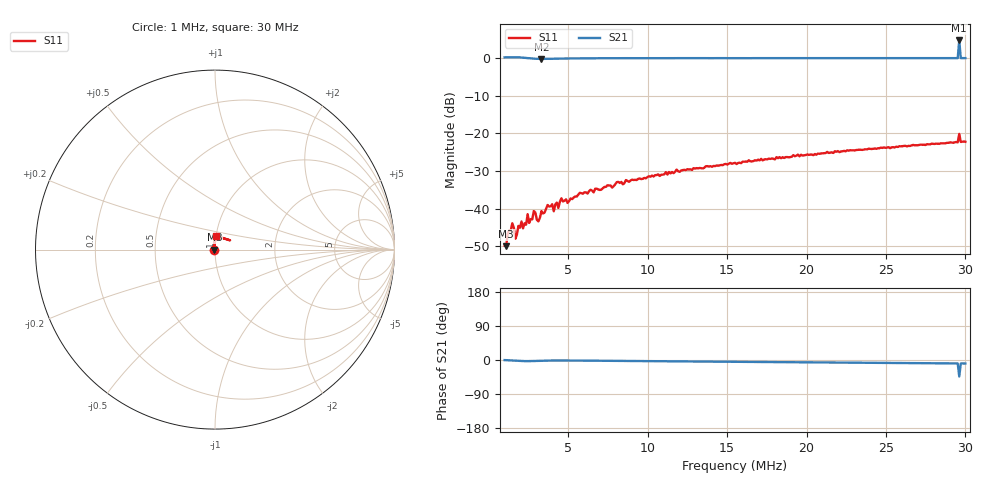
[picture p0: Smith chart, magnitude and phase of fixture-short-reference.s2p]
!File created by NanoVNA-F V2
# Hz S RI R 50
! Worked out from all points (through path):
!   301 points, 1 MHz to 30 MHz, reference 50 ohm
!   highest |S21| = 4.68 dB at 29.61 MHz (marker M1); lowest = -0.2 dB at 3.32 MHz (marker M2)
!   lowest |S11| = -49.9 dB at 1.097 MHz (marker M3), VSWR 1.01, Z = 49.7 - j0.0704 ohm
!   |S11| at or under -10 dB: start of sweep to end of sweep
!   S12 and S22 are empty: the file has one direction only
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1000000  -0.00317 -0.000628  1.022 -0.00425  0 0  0 0
1096666  -0.00311 -0.000708  1.024 -0.00831  0 0  0 0
1193332  -0.00471 0.000108  1.024 -0.0112  0 0  0 0
1483330  -0.00609 0.00204  1.025 -0.0209  0 0  0 0
1676662  -0.0039 0.000884  1.025 -0.0301  0 0  0 0
2063326  -0.00502 0.00454  1.016 -0.0456  0 0  0 0
2159992  -0.00436 0.00333  1.013 -0.0475  0 0  0 0
2353324  -0.00521 0.00326  1.003 -0.0521  0 0  0 0
2449990  -0.00539 0.00654  0.9975 -0.0505  0 0  0 0
2546656  -0.00425 0.0049  0.991 -0.0518  0 0  0 0
2836654  -0.00583 0.00731  0.9805 -0.0436  0 0  0 0
3126652  -0.00316 0.00603  0.9762 -0.0348  0 0  0 0
3319984  -0.00512 0.00779  0.9755 -0.0317  0 0  0 0
5833300  -0.00463 0.0154  0.9925 -0.0277  0 0  0 0
1.06666e7  -0.00246 0.0285  0.996 -0.0555  0 0  0 0
1.54999e7  -0.00182 0.0407  0.995 -0.0826  0 0  0 0
2.03332e7  0.00137 0.0525  0.9922 -0.1084  0 0  0 0
2.51665e7  0.00365 0.0657  0.9892 -0.1354  0 0  0 0
2.951647e7  0.00462 0.0759  0.9865 -0.1575  0 0  0 0
2.961314e7  0.084 0.0516  1.243 -1.181  0 0  0 0
2.97098e7  0.00587 0.0768  0.9861 -0.1581  0 0  0 0
2.99998e7  0.00548 0.0773  0.9872 -0.1608  0 0  0 0
